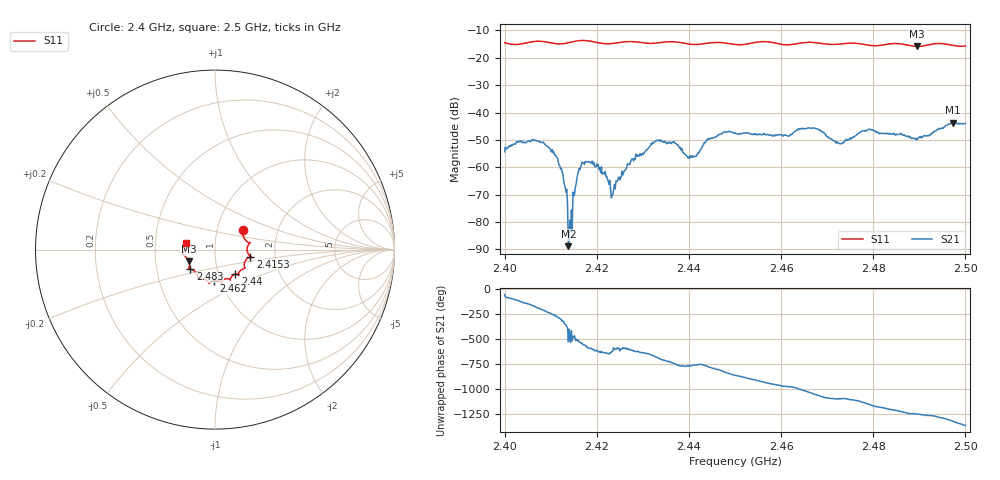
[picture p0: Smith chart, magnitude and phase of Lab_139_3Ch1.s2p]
# Hz S RI R 50
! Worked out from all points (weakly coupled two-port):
!   601 points, 2.4 GHz to 2.5 GHz, reference 50 ohm
!   highest |S21| = -43.66 dB at 2.4973 GHz (marker M1); lowest = -88.8 dB at 2.4138 GHz (marker M2)
!   lowest |S11| = -15.9 dB at 2.4895 GHz (marker M3), VSWR 1.38, Z = 36.9 - j4.99 ohm
!   |S11| at or under -10 dB: start of sweep to end of sweep
!   S12 and S22 are empty: the file has one direction only
!   S11 on the Smith chart (normalised r, x): 2.4 GHz: 1.33, +0.29; 2.4153 GHz: 1.48, -0.12; 2.44 GHz: 1.20, -0.34; 2.462 GHz: 0.93, -0.33; 2.483 GHz: 0.74, -0.17; 2.5 GHz: 0.72, +0.06
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2.4e9  0.1547 0.1067  0.000964 -0.00166  0 0  0 0
2.409333e9  0.1897 0.0322  -0.00126 0.00201  0 0  0 0
2.412e9  0.1787 -0.000551  0.0005 0.000932  0 0  0 0
2.413833e9  0.1863 -0.0256  -3.59e-05 -5.39e-06  0 0  0 0
2.414333e9  0.1898 -0.0314  -6.67e-05 -4.32e-06  0 0  0 0
2.415333e9  0.1965 -0.0387  -0.000357 -0.000243  0 0  0 0
2.416667e9  0.2022 -0.0427  -0.00113 0.000135  0 0  0 0
2.4205e9  0.1797 -0.0496  6.95e-05 0.000916  0 0  0 0
2.4235e9  0.1629 -0.082  -7.73e-05 0.000318  0 0  0 0
2.427167e9  0.1682 -0.1029  -0.000401 0.00104  0 0  0 0
2.433333e9  0.1309 -0.1337  0.00279 0.00138  0 0  0 0
2.44e9  0.1138 -0.1366  0.00105 -0.00115  0 0  0 0
2.45e9  0.0646 -0.1624  -0.0036 -0.00228  0 0  0 0
2.462e9  -0.00506 -0.1734  -0.000687 0.00391  0 0  0 0
2.466667e9  -0.0343 -0.1877  0.00428 0.0029  0 0  0 0
2.472833e9  -0.0785 -0.1604  0.00247 -0.00101  0 0  0 0
2.478833e9  -0.1022 -0.1359  0.00145 -0.00463  0 0  0 0
2.483e9  -0.1377 -0.1096  -0.00211 -0.00364  0 0  0 0
2.483333e9  -0.1402 -0.1094  -0.00238 -0.00344  0 0  0 0
2.4895e9  -0.1464 -0.0659  -0.00319 -0.000379  0 0  0 0
2.497333e9  -0.1675 -0.0028  -0.00248 0.00608  0 0  0 0
2.5e9  -0.1597 0.0393  0.00191 0.00598  0 0  0 0
